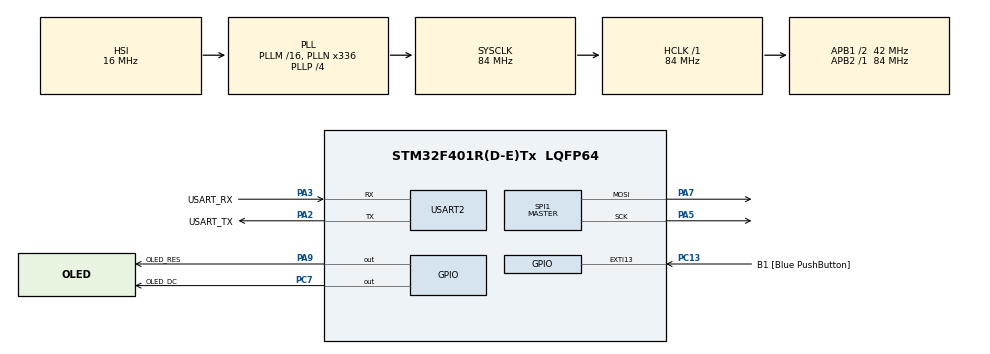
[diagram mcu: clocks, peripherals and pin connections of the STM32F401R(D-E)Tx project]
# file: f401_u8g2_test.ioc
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Mcu.Family=STM32F4
Mcu.Name=STM32F401R(D-E)Tx
Mcu.Package=LQFP64
NVIC.PriorityGroup=NVIC_PRIORITYGROUP_0
PA13.GPIO_Label=TMS
PA13.Mode=Serial_Wire
PA13.Signal=SYS_JTMS-SWDIO
PA14.GPIO_Label=TCK
PA14.Mode=Serial_Wire
PA14.Signal=SYS_JTCK-SWCLK
PA2.GPIO_Label=USART_TX
PA2.GPIO_Mode=GPIO_MODE_AF_PP
PA2.GPIO_PuPd=GPIO_NOPULL
PA2.GPIO_Speed=GPIO_SPEED_FREQ_LOW
PA2.Mode=Asynchronous
PA2.Signal=USART2_TX
PA3.GPIO_Label=USART_RX
PA3.GPIO_Mode=GPIO_MODE_AF_PP
PA3.GPIO_PuPd=GPIO_NOPULL
PA3.GPIO_Speed=GPIO_SPEED_FREQ_LOW
PA3.Mode=Asynchronous
PA3.Signal=USART2_RX
PA5.Mode=TX_Only_Simplex_Unidirect_Master
PA5.Signal=SPI1_SCK
PA7.Mode=TX_Only_Simplex_Unidirect_Master
PA7.Signal=SPI1_MOSI
PA9.GPIO_Label=OLED_RES
PA9.Signal=GPIO_Output
PB3.GPIO_Label=SWO
PB3.Signal=SYS_JTDO-SWO
PC13-ANTI_TAMP.GPIO_Label=B1 [Blue PushButton]
PC13-ANTI_TAMP.GPIO_ModeDefaultEXTI=GPIO_MODE_IT_FALLING
PC13-ANTI_TAMP.GPIO_PuPd=GPIO_NOPULL
PC13-ANTI_TAMP.Signal=GPXTI13
PC14-OSC32_IN.Mode=LSE-External-Oscillator
PC14-OSC32_IN.Signal=RCC_OSC32_IN
PC15-OSC32_OUT.Mode=LSE-External-Oscillator
PC15-OSC32_OUT.Signal=RCC_OSC32_OUT
PC7.GPIO_Label=OLED_DC
PC7.Signal=GPIO_Output
PH0\ -\ OSC_IN.Mode=HSE-External-Clock-Source
PH0\ -\ OSC_IN.Signal=RCC_OSC_IN
PH1\ -\ OSC_OUT.Mode=HSE-External-Clock-Source
PH1\ -\ OSC_OUT.Signal=RCC_OSC_OUT
ProjectManager.HeapSize=0x200
ProjectManager.StackSize=0x400
ProjectManager.TargetToolchain=SW4STM32
RCC.48MHZClocksFreq_Value=48000000
RCC.AHBFreq_Value=84000000
RCC.APB1CLKDivider=RCC_HCLK_DIV2
RCC.APB1Freq_Value=42000000
RCC.APB1TimFreq_Value=84000000
RCC.APB2Freq_Value=84000000
RCC.APB2TimFreq_Value=84000000
RCC.CortexFreq_Value=84000000
RCC.HCLKFreq_Value=84000000
RCC.HSE_VALUE=8000000
RCC.HSI_VALUE=16000000
RCC.PLLN=336
RCC.PLLP=RCC_PLLP_DIV4
RCC.PLLQ=7
RCC.SYSCLKFreq_VALUE=84000000
RCC.SYSCLKSource=RCC_SYSCLKSOURCE_PLLCLK
RCC.VCOOutputFreq_Value=336000000
SPI1.Direction=SPI_DIRECTION_2LINES
SPI1.Mode=SPI_MODE_MASTER
SPI1.VirtualType=VM_MASTER
USART2.VirtualMode=VM_ASYNC
board=NUCLEO-F401RE

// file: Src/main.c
/**
  ******************************************************************************
  * @file           : main.c
  * @brief          : Main program body
  ******************************************************************************
  ** This notice applies to any and all portions of this file
  * that are not between comment pairs USER CODE BEGIN and
  * USER CODE END. Other portions of this file, whether
  * inserted by the user or by software development tools
  * are owned by their respective copyright owners.
  *
  * COPYRIGHT(c) 2018 STMicroelectronics
  *
  * Redistribution and use in source and binary forms, with or without modification,
  * are permitted provided that the following conditions are met:
  *   1. Redistributions of source code must retain the above copyright notice,
  *      this list of conditions and the following disclaimer.
  *   2. Redistributions in binary form must reproduce the above copyright notice,
  *      this list of conditions and the following disclaimer in the documentation
  *      and/or other materials provided with the distribution.
  *   3. Neither the name of STMicroelectronics nor the names of its contributors
  *      may be used to endorse or promote products derived from this software
  *      without specific prior written permission.
  *
  * THIS SOFTWARE IS PROVIDED BY THE COPYRIGHT HOLDERS AND CONTRIBUTORS "AS IS"
  * AND ANY EXPRESS OR IMPLIED WARRANTIES, INCLUDING, BUT NOT LIMITED TO, THE
  * IMPLIED WARRANTIES OF MERCHANTABILITY AND FITNESS FOR A PARTICULAR PURPOSE ARE
  * DISCLAIMED. IN NO EVENT SHALL THE COPYRIGHT HOLDER OR CONTRIBUTORS BE LIABLE
  * FOR ANY DIRECT, INDIRECT, INCIDENTAL, SPECIAL, EXEMPLARY, OR CONSEQUENTIAL
  * DAMAGES (INCLUDING, BUT NOT LIMITED TO, PROCUREMENT OF SUBSTITUTE GOODS OR
  * SERVICES; LOSS OF USE, DATA, OR PROFITS; OR BUSINESS INTERRUPTION) HOWEVER
  * CAUSED AND ON ANY THEORY OF LIABILITY, WHETHER IN CONTRACT, STRICT LIABILITY,
  * OR TORT (INCLUDING NEGLIGENCE OR OTHERWISE) ARISING IN ANY WAY OUT OF THE USE
  * OF THIS SOFTWARE, EVEN IF ADVISED OF THE POSSIBILITY OF SUCH DAMAGE.
  *
  ******************************************************************************
  */
#include "main.h"
#include "stm32f4xx_hal.h"

/* USER CODE BEGIN Includes */
#include "u8g2.h"
/* USER CODE END Includes */

SPI_HandleTypeDef hspi1;

UART_HandleTypeDef huart2;

/* USER CODE BEGIN PV */
/* Private variables ---------------------------------------------------------*/
static u8g2_t u8g2;
/* USER CODE END PV */

void SystemClock_Config(void);
static void MX_GPIO_Init(void);
static void MX_USART2_UART_Init(void);
static void MX_SPI1_Init(void);

/* USER CODE BEGIN PFP */
/* Private function prototypes -----------------------------------------------*/

/* USER CODE END PFP */

/* USER CODE BEGIN 0 */
uint8_t u8x8_stm32_gpio_and_delay(U8X8_UNUSED u8x8_t *u8x8,
    U8X8_UNUSED uint8_t msg, U8X8_UNUSED uint8_t arg_int,
    U8X8_UNUSED void *arg_ptr)
{
  switch (msg)
  {
  case U8X8_MSG_GPIO_AND_DELAY_INIT:
    HAL_Delay(1);
    break;
  case U8X8_MSG_DELAY_MILLI:
    HAL_Delay(arg_int);
    break;
  case U8X8_MSG_GPIO_DC:
    HAL_GPIO_WritePin(OLED_DC_GPIO_Port, OLED_DC_Pin, arg_int);
    break;
  case U8X8_MSG_GPIO_RESET:
    HAL_GPIO_WritePin(OLED_RES_GPIO_Port, OLED_RES_Pin, arg_int);
    break;
  }
  return 1;
}

uint8_t u8x8_byte_4wire_hw_spi(u8x8_t *u8x8, uint8_t msg, uint8_t arg_int,
    void *arg_ptr)
{
  switch (msg)
  {
  case U8X8_MSG_BYTE_SEND:
    HAL_SPI_Transmit(&hspi1, (uint8_t *) arg_ptr, arg_int, 10000);
    break;
  case U8X8_MSG_BYTE_INIT:
    break;
  case U8X8_MSG_BYTE_SET_DC:
    HAL_GPIO_WritePin(OLED_DC_GPIO_Port, OLED_DC_Pin, arg_int);
    break;
  case U8X8_MSG_BYTE_START_TRANSFER:
    break;
  case U8X8_MSG_BYTE_END_TRANSFER:
    break;
  default:
    return 0;
  }
  return 1;
}
/* USER CODE END 0 */

int main(void)
{

  /* MCU Configuration----------------------------------------------------------*/

  /* Reset of all peripherals, Initializes the Flash interface and the Systick. */
  HAL_Init();

  /* Configure the system clock */
  SystemClock_Config();

  /* Initialize all configured peripherals */
  MX_GPIO_Init();
  MX_USART2_UART_Init();
  MX_SPI1_Init();
  /* USER CODE BEGIN 2 */
  u8g2_Setup_ssd1306_128x64_noname_1(&u8g2, U8G2_R0, u8x8_byte_4wire_hw_spi,
      u8x8_stm32_gpio_and_delay);
  u8g2_InitDisplay(&u8g2);
  u8g2_SetPowerSave(&u8g2, 0);
  /* USER CODE END 2 */

  /* Infinite loop */
  while (1)
  {

  /* USER CODE BEGIN 3 */
    u8g2_FirstPage(&u8g2);
    do
    {
      u8g2_SetFont(&u8g2, u8g2_font_ncenB14_tr);
      u8g2_DrawStr(&u8g2, 0, 15, "Hello World!");
      u8g2_DrawCircle(&u8g2, 64, 40, 10, U8G2_DRAW_ALL);
    } while (u8g2_NextPage(&u8g2));
  }
  /* USER CODE END 3 */

}

void SystemClock_Config(void)
{

  RCC_OscInitTypeDef RCC_OscInitStruct;
  RCC_ClkInitTypeDef RCC_ClkInitStruct;

    /**Configure the main internal regulator output voltage
    */
  __HAL_RCC_PWR_CLK_ENABLE();

  __HAL_PWR_VOLTAGESCALING_CONFIG(PWR_REGULATOR_VOLTAGE_SCALE2);

    /**Initializes the CPU, AHB and APB busses clocks
    */
  RCC_OscInitStruct.OscillatorType = RCC_OSCILLATORTYPE_HSI;
  RCC_OscInitStruct.HSIState = RCC_HSI_ON;
  RCC_OscInitStruct.HSICalibrationValue = 16;
  RCC_OscInitStruct.PLL.PLLState = RCC_PLL_ON;
  RCC_OscInitStruct.PLL.PLLSource = RCC_PLLSOURCE_HSI;
  RCC_OscInitStruct.PLL.PLLM = 16;
  RCC_OscInitStruct.PLL.PLLN = 336;
  RCC_OscInitStruct.PLL.PLLP = RCC_PLLP_DIV4;
  RCC_OscInitStruct.PLL.PLLQ = 7;
  if (HAL_RCC_OscConfig(&RCC_OscInitStruct) != HAL_OK)
  {
    _Error_Handler(__FILE__, __LINE__);
  }

    /**Initializes the CPU, AHB and APB busses clocks
    */
  RCC_ClkInitStruct.ClockType = RCC_CLOCKTYPE_HCLK|RCC_CLOCKTYPE_SYSCLK
                              |RCC_CLOCKTYPE_PCLK1|RCC_CLOCKTYPE_PCLK2;
  RCC_ClkInitStruct.SYSCLKSource = RCC_SYSCLKSOURCE_PLLCLK;
  RCC_ClkInitStruct.AHBCLKDivider = RCC_SYSCLK_DIV1;
  RCC_ClkInitStruct.APB1CLKDivider = RCC_HCLK_DIV2;
  RCC_ClkInitStruct.APB2CLKDivider = RCC_HCLK_DIV1;

  if (HAL_RCC_ClockConfig(&RCC_ClkInitStruct, FLASH_LATENCY_2) != HAL_OK)
  {
    _Error_Handler(__FILE__, __LINE__);
  }

    /**Configure the Systick interrupt time
    */
  HAL_SYSTICK_Config(HAL_RCC_GetHCLKFreq()/1000);

    /**Configure the Systick
    */
  HAL_SYSTICK_CLKSourceConfig(SYSTICK_CLKSOURCE_HCLK);

  /* SysTick_IRQn interrupt configuration */
  HAL_NVIC_SetPriority(SysTick_IRQn, 0, 0);
}

/* SPI1 init function */
static void MX_SPI1_Init(void)
{

  /* SPI1 parameter configuration*/
  hspi1.Instance = SPI1;
  hspi1.Init.Mode = SPI_MODE_MASTER;
  hspi1.Init.Direction = SPI_DIRECTION_2LINES;
  hspi1.Init.DataSize = SPI_DATASIZE_8BIT;
  hspi1.Init.CLKPolarity = SPI_POLARITY_LOW;
  hspi1.Init.CLKPhase = SPI_PHASE_1EDGE;
  hspi1.Init.NSS = SPI_NSS_SOFT;
  hspi1.Init.BaudRatePrescaler = SPI_BAUDRATEPRESCALER_2;
  hspi1.Init.FirstBit = SPI_FIRSTBIT_MSB;
  hspi1.Init.TIMode = SPI_TIMODE_DISABLE;
  hspi1.Init.CRCCalculation = SPI_CRCCALCULATION_DISABLE;
  hspi1.Init.CRCPolynomial = 10;
  if (HAL_SPI_Init(&hspi1) != HAL_OK)
  {
    _Error_Handler(__FILE__, __LINE__);
  }

}

/* USART2 init function */
static void MX_USART2_UART_Init(void)
{

  huart2.Instance = USART2;
  huart2.Init.BaudRate = 115200;
  huart2.Init.WordLength = UART_WORDLENGTH_8B;
  huart2.Init.StopBits = UART_STOPBITS_1;
  huart2.Init.Parity = UART_PARITY_NONE;
  huart2.Init.Mode = UART_MODE_TX_RX;
  huart2.Init.HwFlowCtl = UART_HWCONTROL_NONE;
  huart2.Init.OverSampling = UART_OVERSAMPLING_16;
  if (HAL_UART_Init(&huart2) != HAL_OK)
  {
    _Error_Handler(__FILE__, __LINE__);
  }

}

/** Configure pins as
        * Analog
        * Input
        * Output
        * EVENT_OUT
        * EXTI
*/
static void MX_GPIO_Init(void)
{

  GPIO_InitTypeDef GPIO_InitStruct;

  /* GPIO Ports Clock Enable */
  __HAL_RCC_GPIOC_CLK_ENABLE();
  __HAL_RCC_GPIOH_CLK_ENABLE();
  __HAL_RCC_GPIOA_CLK_ENABLE();
  __HAL_RCC_GPIOB_CLK_ENABLE();

  /*Configure GPIO pin Output Level */
  HAL_GPIO_WritePin(OLED_DC_GPIO_Port, OLED_DC_Pin, GPIO_PIN_RESET);

  /*Configure GPIO pin Output Level */
  HAL_GPIO_WritePin(OLED_RES_GPIO_Port, OLED_RES_Pin, GPIO_PIN_RESET);

  /*Configure GPIO pin : B1_Pin */
  GPIO_InitStruct.Pin = B1_Pin;
  GPIO_InitStruct.Mode = GPIO_MODE_IT_FALLING;
  GPIO_InitStruct.Pull = GPIO_NOPULL;
  HAL_GPIO_Init(B1_GPIO_Port, &GPIO_InitStruct);

  /*Configure GPIO pin : OLED_DC_Pin */
  GPIO_InitStruct.Pin = OLED_DC_Pin;
  GPIO_InitStruct.Mode = GPIO_MODE_OUTPUT_PP;
  GPIO_InitStruct.Pull = GPIO_NOPULL;
  GPIO_InitStruct.Speed = GPIO_SPEED_FREQ_LOW;
  HAL_GPIO_Init(OLED_DC_GPIO_Port, &GPIO_InitStruct);

  /*Configure GPIO pin : OLED_RES_Pin */
  GPIO_InitStruct.Pin = OLED_RES_Pin;
  GPIO_InitStruct.Mode = GPIO_MODE_OUTPUT_PP;
  GPIO_InitStruct.Pull = GPIO_NOPULL;
  GPIO_InitStruct.Speed = GPIO_SPEED_FREQ_LOW;
  HAL_GPIO_Init(OLED_RES_GPIO_Port, &GPIO_InitStruct);

}

void _Error_Handler(char *file, int line)
{
  while(1)
  {
  }
}

/************************ (C) COPYRIGHT STMicroelectronics *****END OF FILE****/
